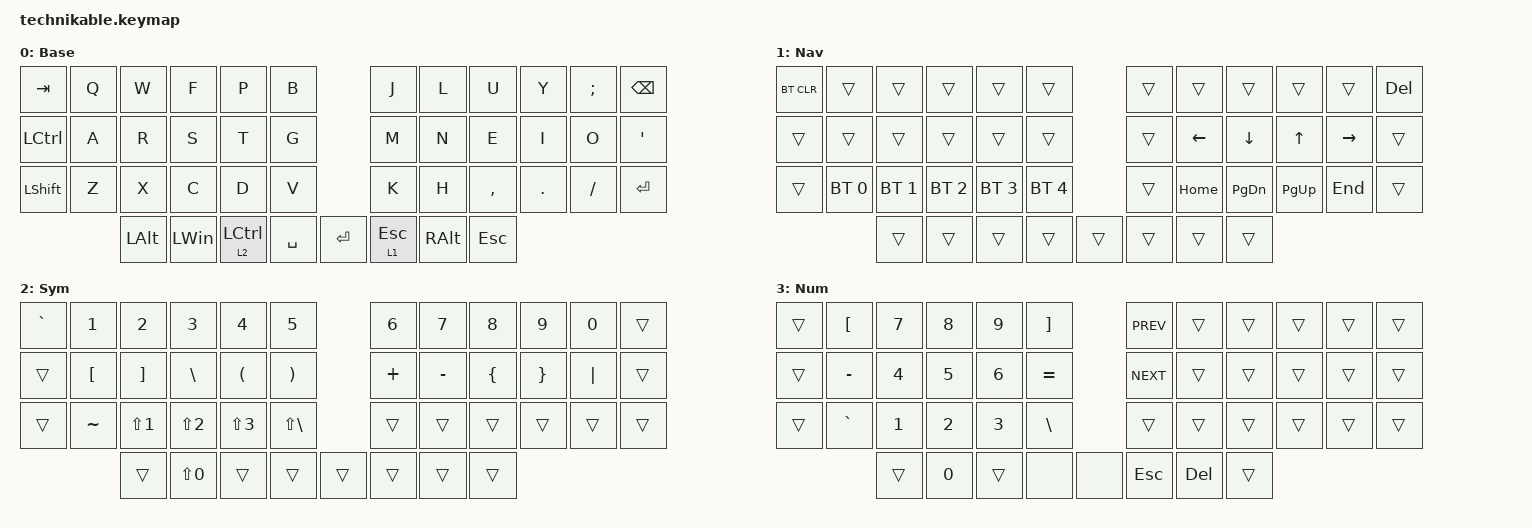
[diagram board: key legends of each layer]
/*
 * Copyright (c) 2022 Pete Johanson
 *
 * SPDX-License-Identifier: MIT
 */

#include <behaviors.dtsi>
#include <dt-bindings/zmk/bt.h>
#include <dt-bindings/zmk/keys.h>

#define BAS_L 0
#define NAV_L 1
#define NUM_L 2
#define SYM_L 3

// Using layer taps on thumbs, having quick tap as well helps w/ repeating space/backspace

&lt { quick_tap_ms = <200>; };

/ {
    chosen { zmk,matrix_transform = &ortho_transform; };

    conditional_layers { compatible = "zmk,conditional-layers"; };

    keymap {
        compatible = "zmk,keymap";

        base_layer {
            label = "Base";
            bindings = <
&kp TAB    &kp Q  &kp W     &kp F         &kp P        &kp B                  &kp J         &kp L     &kp U       &kp Y    &kp SEMICOLON  &kp BACKSPACE
&kp LCTRL  &kp A  &kp R     &kp S         &kp T        &kp G                  &kp M         &kp N     &kp E       &kp I    &kp O          &kp SQT
&kp LSHFT  &kp Z  &kp X     &kp C         &kp D        &kp V                  &kp K         &kp H     &kp COMMA   &kp DOT  &kp FSLH       &kp RET
                  &kp LALT  &kp LEFT_WIN  &lt 2 LCTRL  &kp SPACE  &kp RETURN  &lt 1 ESCAPE  &kp RALT  &kp ESCAPE
            >;
        };

        nav_layer {
            label = "Nav";
            bindings = <
&bt BT_CLR  &trans        &trans        &trans        &trans        &trans                &trans  &trans    &trans     &trans     &trans     &kp DEL
&trans      &trans        &trans        &trans        &trans        &trans                &trans  &kp LEFT  &kp DOWN   &kp UP     &kp RIGHT  &trans
&trans      &bt BT_SEL 0  &bt BT_SEL 1  &bt BT_SEL 2  &bt BT_SEL 3  &bt BT_SEL 4          &trans  &kp HOME  &kp PG_DN  &kp PG_UP  &kp END    &trans
                          &trans        &trans        &trans        &trans        &trans  &trans  &trans    &trans
            >;
        };

        sym_layer {
            label = "Sym";
            bindings = <
&kp GRAVE  &kp NUMBER_1      &kp NUMBER_2       &kp NUMBER_3   &kp NUMBER_4          &kp N5                         &kp NUMBER_6  &kp N7     &kp N8          &kp N9           &kp N0    &trans
&trans     &kp LEFT_BRACKET  &kp RIGHT_BRACKET  &kp BACKSLASH  &kp LEFT_PARENTHESIS  &kp RIGHT_PARENTHESIS          &kp PLUS      &kp MINUS  &kp LEFT_BRACE  &kp RIGHT_BRACE  &kp PIPE  &trans
&trans     &kp TILDE         &kp LS(N1)         &kp LS(N2)     &kp LS(N3)            &kp LS(BSLH)                   &trans        &trans     &trans          &trans           &trans    &trans
                             &trans             &kp LS(N0)     &trans                &trans                 &trans  &trans        &trans     &trans
            >;
        };

        num_layer {
            label = "Num";
            bindings = <
&trans  &kp LBKT   &kp N7  &kp N8  &kp N9  &kp RBKT          &kp C_PREV  &trans   &trans  &trans  &trans  &trans
&trans  &kp MINUS  &kp N4  &kp N5  &kp N6  &kp EQUAL         &kp C_NEXT  &trans   &trans  &trans  &trans  &trans
&trans  &kp GRAVE  &kp N1  &kp N2  &kp N3  &kp BSLH          &trans      &trans   &trans  &trans  &trans  &trans
                   &trans  &kp N0  &trans  &none      &none  &kp ESC     &kp DEL  &trans
            >;
        };
    };
};
